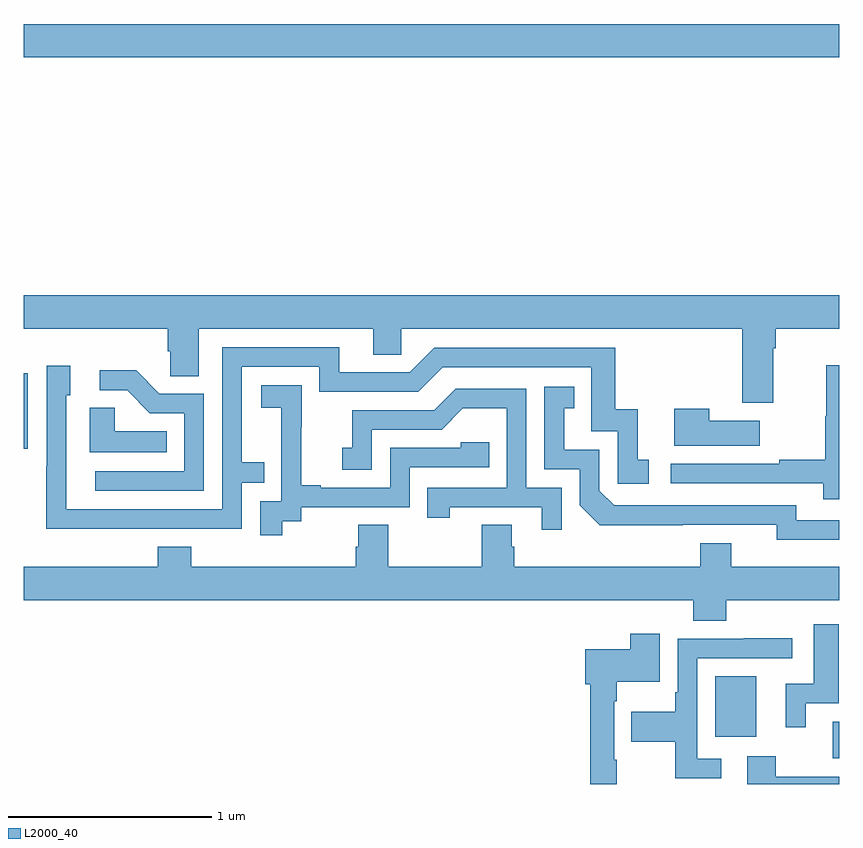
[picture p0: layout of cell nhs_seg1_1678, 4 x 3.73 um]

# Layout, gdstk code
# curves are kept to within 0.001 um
import gdstk
lib = gdstk.Library(unit=1e-6, precision=1e-09)
def R(c, l, rs):  # rectangles x0, y0, x1, y1
    for r in rs: c.add(gdstk.rectangle(r[:2], r[2:], *l))
def P(c, l, *ps):  # polygons
    for p in ps: c.add(gdstk.Polygon(p, *l))
L2000_40 = (2000, 40)

nhs_seg1_1678 = lib.new_cell('nhs_seg1_1678')
R(nhs_seg1_1678, L2000_40, [(206.969,516.326,207,516.505), (206.393,516.431,206.593,516.727), (203,517.845,203.019,518.214), (203,519.764,207,519.928)])
P(nhs_seg1_1678, L2000_40, [(206.677,518.336),(206.69,518.336),(206.69,518.432),(207,518.432),(207,518.596),(203,518.596),(203,518.432),(203.705,518.432),(203.705,518.323),(203.718,518.323),(203.718,518.2),(203.857,518.2),(203.857,518.432),(204.713,518.432),(204.713,518.305),(204.852,518.305),(204.852,518.432),(206.525,518.432),(206.525,518.07),(206.677,518.07)],
  [(203.573,517.452),(204.069,517.452),(204.069,517.677),(204.179,517.677),(204.179,517.778),(204.069,517.778),(204.069,518.247),(204.45,518.247),(204.45,518.124),(204.936,518.124),(205.056,518.244),(205.785,518.244),(205.785,517.929),(205.914,517.929),(205.914,517.671),(206.065,517.671),(206.065,517.791),(206.012,517.791),(206.012,518.038),(205.901,518.038),(205.901,518.34),(205.014,518.34),(204.894,518.22),(204.547,518.22),(204.547,518.343),(203.973,518.343),(203.973,517.548),(203.208,517.548),(203.208,518.106),(203.227,518.106),(203.227,518.251),(203.112,518.251),(203.112,517.757),(203.11,517.757),(203.11,517.451)],
  [(207,518.254),(206.938,518.254),(206.938,518.004),(206.931,518.004),(206.931,517.79),(206.707,517.79),(206.707,517.77),(206.175,517.77),(206.175,517.674),(206.923,517.674),(206.923,517.596),(207,517.596)],
  [(203.883,518.115),(203.664,518.115),(203.551,518.228),(203.373,518.228),(203.373,518.13),(203.507,518.13),(203.618,518.019),(203.787,518.019),(203.787,517.734),(203.349,517.734),(203.349,517.638),(203.883,517.638)],
  [(204.268,517.489),(204.36,517.489),(204.36,517.557),(204.894,517.557),(204.894,517.752),(205.283,517.752),(205.283,517.875),(205.143,517.875),(205.143,517.848),(204.798,517.848),(204.798,517.653),(204.457,517.653),(204.457,517.666),(204.362,517.666),(204.362,517.949),(204.363,517.949),(204.363,518.155),(204.165,518.155),(204.165,518.045),(204.263,518.045),(204.263,517.817),(204.264,517.817),(204.264,517.587),(204.159,517.587),(204.159,517.419),(204.268,517.419)],
  [(207,517.494),(206.79,517.494),(206.79,517.566),(205.896,517.566),(205.824,517.638),(205.824,517.839),(205.651,517.839),(205.651,518.043),(205.7,518.043),(205.7,518.149),(205.554,518.149),(205.554,517.743),(205.728,517.743),(205.728,517.566),(205.826,517.469),(206.694,517.47),(206.694,517.397),(207,517.397)],
  [(205.638,517.653),(205.464,517.653),(205.464,518.139),(205.118,518.139),(205.013,518.034),(204.61,518.034),(204.61,517.849),(204.561,517.849),(204.561,517.74),(204.708,517.74),(204.708,517.938),(205.05,517.938),(205.154,518.042),(205.368,518.042),(205.368,517.653),(204.979,517.653),(204.979,517.506),(205.09,517.506),(205.09,517.557),(205.541,517.557),(205.541,517.446),(205.638,517.446)],
  [(203.702,517.93),(203.445,517.93),(203.445,518.045),(203.324,518.045),(203.324,517.826),(203.702,517.826)],
  [(206.611,517.981),(206.363,517.981),(206.363,518.041),(206.192,518.041),(206.192,517.859),(206.611,517.859)],
  [(206.445,517.1),(207,517.1),(207,517.264),(206.47,517.264),(206.47,517.381),(206.318,517.381),(206.318,517.264),(205.406,517.264),(205.406,517.362),(205.393,517.362),(205.393,517.472),(205.246,517.472),(205.246,517.264),(204.789,517.264),(204.789,517.472),(204.641,517.472),(204.641,517.362),(204.629,517.362),(204.629,517.264),(203.822,517.264),(203.822,517.363),(203.657,517.363),(203.657,517.264),(203,517.264),(203,517.1),(206.285,517.1),(206.285,517.001),(206.445,517.001)],
  [(206.836,516.594),(206.998,516.594),(206.998,516.869),(206.997,516.869),(206.997,516.982),(206.876,516.982),(206.876,516.69),(206.738,516.69),(206.738,516.477),(206.836,516.477)],
  [(205.909,516.317),(205.896,516.317),(205.896,516.605),(205.909,516.605),(205.909,516.701),(206.119,516.701),(206.119,516.937),(205.976,516.937),(205.976,516.859),(205.754,516.859),(205.754,516.689),(205.78,516.689),(205.78,516.199),(205.909,516.199)],
  [(206.422,516.324),(206.304,516.324),(206.304,516.816),(206.77,516.816),(206.77,516.914),(206.533,516.914),(206.533,516.912),(206.208,516.912),(206.208,516.649),(206.196,516.649),(206.196,516.553),(205.981,516.553),(205.981,516.406),(206.196,516.406),(206.196,516.227),(206.422,516.227)],
  [(207,516.235),(206.689,516.235),(206.689,516.334),(206.549,516.334),(206.549,516.199),(207,516.199)])

lib.write_gds('nhs_seg1_1678.gds')
